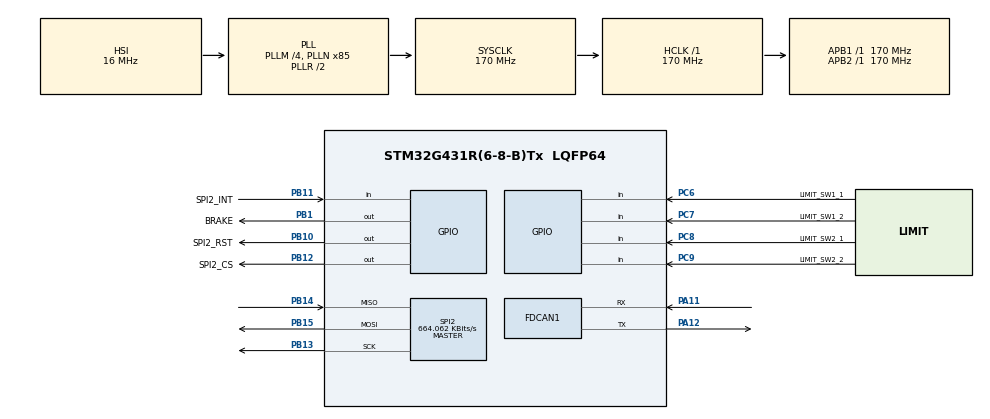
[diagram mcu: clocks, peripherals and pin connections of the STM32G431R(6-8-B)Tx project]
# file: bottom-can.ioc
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FDCAN1.AutoRetransmission=ENABLE
FDCAN1.CalculateBaudRateNominal=999999
FDCAN1.CalculateTimeBitNominal=1000
FDCAN1.CalculateTimeQuantumNominal=58.82352941176471
FDCAN1.NominalPrescaler=10
FDCAN1.NominalSyncJumpWidth=3
FDCAN1.NominalTimeSeg1=13
FDCAN1.NominalTimeSeg2=3
FDCAN1.StdFiltersNbr=1
Mcu.Family=STM32G4
Mcu.Name=STM32G431R(6-8-B)Tx
Mcu.Package=LQFP64
NUCLEO-G431RB.BUTTON=1
NUCLEO-G431RB.LD1=true
NUCLEO-G431RB.VCP=true
NVIC.EXTI15_10_IRQn=true\:0\:0\:false\:false\:true\:false\:true\:true
NVIC.PriorityGroup=NVIC_PRIORITYGROUP_4
PA11.Mode=FDCAN_Activate
PA11.Signal=FDCAN1_RX
PA12.Mode=FDCAN_Activate
PA12.Signal=FDCAN1_TX
PA13.GPIO_Label=T_SWDIO
PA13.Mode=Serial_Wire
PA13.Signal=SYS_JTMS-SWDIO
PA14.GPIO_Label=T_SWCLK
PA14.Mode=Serial_Wire
PA14.Signal=SYS_JTCK-SWCLK
PB1.GPIO_Label=BRAKE
PB1.GPIO_PuPd=GPIO_PULLDOWN
PB1.Signal=GPIO_Output
PB10.GPIO_Label=SPI2_RST
PB10.GPIO_PuPd=GPIO_PULLUP
PB10.PinState=GPIO_PIN_SET
PB10.Signal=GPIO_Output
PB11.GPIO_Label=SPI2_INT
PB11.GPIO_PuPd=GPIO_PULLUP
PB11.Signal=GPIO_Input
PB12.GPIO_Label=SPI2_CS
PB12.GPIO_PuPd=GPIO_PULLUP
PB12.PinState=GPIO_PIN_SET
PB12.Signal=GPIO_Output
PB13.GPIO_Speed=GPIO_SPEED_FREQ_VERY_HIGH
PB13.Mode=Full_Duplex_Master
PB13.Signal=SPI2_SCK
PB14.GPIO_Speed=GPIO_SPEED_FREQ_VERY_HIGH
PB14.Mode=Full_Duplex_Master
PB14.Signal=SPI2_MISO
PB15.GPIO_Speed=GPIO_SPEED_FREQ_VERY_HIGH
PB15.Mode=Full_Duplex_Master
PB15.Signal=SPI2_MOSI
PB3.GPIO_Label=T_SWO
PB3.Signal=SYS_JTDO-SWO
PC14-OSC32_IN.GPIO_Label=RCC_OSC32_OUT
PC14-OSC32_IN.Signal=RCC_OSC32_IN
PC15-OSC32_OUT.GPIO_Label=RCC_OSC32_OUT
PC15-OSC32_OUT.Signal=RCC_OSC32_OUT
PC6.GPIO_Label=LIMIT_SW1_1
PC6.GPIO_PuPd=GPIO_PULLUP
PC6.Signal=GPIO_Input
PC7.GPIO_Label=LIMIT_SW1_2
PC7.GPIO_PuPd=GPIO_PULLUP
PC7.Signal=GPIO_Input
PC8.GPIO_Label=LIMIT_SW2_1
PC8.GPIO_PuPd=GPIO_PULLUP
PC8.Signal=GPIO_Input
PC9.GPIO_Label=LIMIT_SW2_2
PC9.GPIO_PuPd=GPIO_PULLUP
PC9.Signal=GPIO_Input
PF0-OSC_IN.GPIO_Label=RCC_OSC_IN
PF0-OSC_IN.Signal=RCC_OSC_IN
PF1-OSC_OUT.GPIO_Label=RCC_OSC_OUT
PF1-OSC_OUT.Signal=RCC_OSC_OUT
ProjectManager.HeapSize=0x800
ProjectManager.StackSize=0x1000
ProjectManager.TargetToolchain=STM32CubeIDE
RCC.ADC12Freq_Value=170000000
RCC.AHBFreq_Value=170000000
RCC.APB1Freq_Value=170000000
RCC.APB1TimFreq_Value=170000000
RCC.APB2Freq_Value=170000000
RCC.APB2TimFreq_Value=170000000
RCC.CortexFreq_Value=170000000
RCC.EXTERNAL_CLOCK_VALUE=12288000
RCC.HCLKFreq_Value=170000000
RCC.HSE_VALUE=24000000
RCC.HSI48_VALUE=48000000
RCC.HSI_VALUE=16000000
RCC.LSE_VALUE=32768
RCC.PLLM=RCC_PLLM_DIV4
RCC.PLLN=85
RCC.RTCClockSelection=RCC_RTCCLKSOURCE_LSE
RCC.SYSCLKFreq_VALUE=170000000
RCC.SYSCLKSource=RCC_SYSCLKSOURCE_PLLCLK
RCC.USBFreq_Value=170000000
RCC.VCOOutputFreq_Value=340000000
SPI2.BaudRatePrescaler=SPI_BAUDRATEPRESCALER_256
SPI2.CLKPhase=SPI_PHASE_2EDGE
SPI2.CLKPolarity=SPI_POLARITY_HIGH
SPI2.CalculateBaudRate=664.062 KBits/s
SPI2.DataSize=SPI_DATASIZE_8BIT
SPI2.Direction=SPI_DIRECTION_2LINES
SPI2.Mode=SPI_MODE_MASTER
SPI2.VirtualType=VM_MASTER
VP_NUCLEO-G431RB_VS_BSP_COMMON.Mode=COMMON
VP_SYS_VS_DBSignals.Mode=DisableDeadBatterySignals
board=NUCLEO-G431RB

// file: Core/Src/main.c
/* USER CODE BEGIN Header */
/**
  ******************************************************************************
  * @file           : main.c
  * @brief          : Main program body
  ******************************************************************************
  * @attention
  *
  * Copyright (c) 2026 STMicroelectronics.
  * All rights reserved.
  *
  * This software is licensed under terms that can be found in the LICENSE file
  * in the root directory of this software component.
  * If no LICENSE file comes with this software, it is provided AS-IS.
  *
  ******************************************************************************
  */
/* USER CODE END Header */
#include "main.h"

/* USER CODE BEGIN Includes */
#include "ceva_bno085.h"

/* USER CODE END Includes */

/* USER CODE BEGIN PD */
#define BOTTOM_CAN_TX_PERIOD_MS 10U
#define BOTTOM_CAN_ID_RPY      0x210U
#define BOTTOM_CAN_ID_ACCEL    0x211U
#define BOTTOM_CAN_ID_COMMAND  0x212U
#define BOTTOM_CAN_ID_STATUS   0x213U
#define BOTTOM_CAN_CMD_RELAY   0x01U
#define BOTTOM_RELAY_ON_LEVEL  GPIO_PIN_RESET
#define BOTTOM_RELAY_OFF_LEVEL GPIO_PIN_SET

/* USER CODE END PD */

COM_InitTypeDef BspCOMInit;
FDCAN_HandleTypeDef hfdcan1;

SPI_HandleTypeDef hspi2;

/* USER CODE BEGIN PV */
static uint32_t bottom_can_last_tx_ms;
static uint8_t bottom_can_tx_seq;
static uint8_t bottom_can_relay_state;

/* USER CODE END PV */

void SystemClock_Config(void);
static void MX_GPIO_Init(void);
static void MX_FDCAN1_Init(void);
static void MX_SPI2_Init(void);
/* USER CODE BEGIN PFP */
static void Bottom_CAN_Init(void);
static void Bottom_CAN_Service(void);
static void Bottom_CAN_ProcessRx(void);

/* USER CODE END PFP */

int main(void)
{

  /* MCU Configuration--------------------------------------------------------*/

  /* Reset of all peripherals, Initializes the Flash interface and the Systick. */
  HAL_Init();

  /* Configure the system clock */
  SystemClock_Config();

  /* Initialize all configured peripherals */
  MX_GPIO_Init();
  MX_FDCAN1_Init();
  MX_SPI2_Init();
  /* USER CODE BEGIN 2 */
  Bottom_CAN_Init();
  CEVA_BNO085_Init();

  /* USER CODE END 2 */

  /* Initialize leds */
  BSP_LED_Init(LED_GREEN);

  /* Initialize USER push-button, will be used to trigger an interrupt each time it's pressed.*/
  BSP_PB_Init(BUTTON_USER, BUTTON_MODE_EXTI);

  /* Initialize COM1 port (115200, 8 bits (7-bit data + 1 stop bit), no parity */
  BspCOMInit.BaudRate   = 115200;
  BspCOMInit.WordLength = COM_WORDLENGTH_8B;
  BspCOMInit.StopBits   = COM_STOPBITS_1;
  BspCOMInit.Parity     = COM_PARITY_NONE;
  BspCOMInit.HwFlowCtl  = COM_HWCONTROL_NONE;
  if (BSP_COM_Init(COM1, &BspCOMInit) != BSP_ERROR_NONE)
  {
    Error_Handler();
  }

  /* Infinite loop */
  while (1)
  {

    /* USER CODE BEGIN 3 */
    Bottom_CAN_Service();
    CEVA_BNO085_Service();
  }
  /* USER CODE END 3 */
}

void SystemClock_Config(void)
{
  RCC_OscInitTypeDef RCC_OscInitStruct = {0};
  RCC_ClkInitTypeDef RCC_ClkInitStruct = {0};

  /** Configure the main internal regulator output voltage
  */
  HAL_PWREx_ControlVoltageScaling(PWR_REGULATOR_VOLTAGE_SCALE1_BOOST);

  /** Initializes the RCC Oscillators according to the specified parameters
  * in the RCC_OscInitTypeDef structure.
  */
  RCC_OscInitStruct.OscillatorType = RCC_OSCILLATORTYPE_HSI;
  RCC_OscInitStruct.HSIState = RCC_HSI_ON;
  RCC_OscInitStruct.HSICalibrationValue = RCC_HSICALIBRATION_DEFAULT;
  RCC_OscInitStruct.PLL.PLLState = RCC_PLL_ON;
  RCC_OscInitStruct.PLL.PLLSource = RCC_PLLSOURCE_HSI;
  RCC_OscInitStruct.PLL.PLLM = RCC_PLLM_DIV4;
  RCC_OscInitStruct.PLL.PLLN = 85;
  RCC_OscInitStruct.PLL.PLLP = RCC_PLLP_DIV2;
  RCC_OscInitStruct.PLL.PLLQ = RCC_PLLQ_DIV2;
  RCC_OscInitStruct.PLL.PLLR = RCC_PLLR_DIV2;
  if (HAL_RCC_OscConfig(&RCC_OscInitStruct) != HAL_OK)
  {
    Error_Handler();
  }

  /** Initializes the CPU, AHB and APB buses clocks
  */
  RCC_ClkInitStruct.ClockType = RCC_CLOCKTYPE_HCLK|RCC_CLOCKTYPE_SYSCLK
                              |RCC_CLOCKTYPE_PCLK1|RCC_CLOCKTYPE_PCLK2;
  RCC_ClkInitStruct.SYSCLKSource = RCC_SYSCLKSOURCE_PLLCLK;
  RCC_ClkInitStruct.AHBCLKDivider = RCC_SYSCLK_DIV1;
  RCC_ClkInitStruct.APB1CLKDivider = RCC_HCLK_DIV1;
  RCC_ClkInitStruct.APB2CLKDivider = RCC_HCLK_DIV1;

  if (HAL_RCC_ClockConfig(&RCC_ClkInitStruct, FLASH_LATENCY_4) != HAL_OK)
  {
    Error_Handler();
  }
}

static void MX_FDCAN1_Init(void)
{

  hfdcan1.Instance = FDCAN1;
  hfdcan1.Init.ClockDivider = FDCAN_CLOCK_DIV1;
  hfdcan1.Init.FrameFormat = FDCAN_FRAME_CLASSIC;
  hfdcan1.Init.Mode = FDCAN_MODE_NORMAL;
  hfdcan1.Init.AutoRetransmission = ENABLE;
  hfdcan1.Init.TransmitPause = DISABLE;
  hfdcan1.Init.ProtocolException = DISABLE;
  hfdcan1.Init.NominalPrescaler = 10;
  hfdcan1.Init.NominalSyncJumpWidth = 3;
  hfdcan1.Init.NominalTimeSeg1 = 13;
  hfdcan1.Init.NominalTimeSeg2 = 3;
  hfdcan1.Init.DataPrescaler = 1;
  hfdcan1.Init.DataSyncJumpWidth = 1;
  hfdcan1.Init.DataTimeSeg1 = 1;
  hfdcan1.Init.DataTimeSeg2 = 1;
  hfdcan1.Init.StdFiltersNbr = 1;
  hfdcan1.Init.ExtFiltersNbr = 0;
  hfdcan1.Init.TxFifoQueueMode = FDCAN_TX_FIFO_OPERATION;
  if (HAL_FDCAN_Init(&hfdcan1) != HAL_OK)
  {
    Error_Handler();
  }

}

static void MX_SPI2_Init(void)
{

  /* SPI2 parameter configuration*/
  hspi2.Instance = SPI2;
  hspi2.Init.Mode = SPI_MODE_MASTER;
  hspi2.Init.Direction = SPI_DIRECTION_2LINES;
  hspi2.Init.DataSize = SPI_DATASIZE_8BIT;
  hspi2.Init.CLKPolarity = SPI_POLARITY_HIGH;
  hspi2.Init.CLKPhase = SPI_PHASE_2EDGE;
  hspi2.Init.NSS = SPI_NSS_SOFT;
  hspi2.Init.BaudRatePrescaler = SPI_BAUDRATEPRESCALER_256;
  hspi2.Init.FirstBit = SPI_FIRSTBIT_MSB;
  hspi2.Init.TIMode = SPI_TIMODE_DISABLE;
  hspi2.Init.CRCCalculation = SPI_CRCCALCULATION_DISABLE;
  hspi2.Init.CRCPolynomial = 7;
  hspi2.Init.CRCLength = SPI_CRC_LENGTH_DATASIZE;
  hspi2.Init.NSSPMode = SPI_NSS_PULSE_DISABLE;
  if (HAL_SPI_Init(&hspi2) != HAL_OK)
  {
    Error_Handler();
  }

}

static void MX_GPIO_Init(void)
{
  GPIO_InitTypeDef GPIO_InitStruct = {0};

  /* GPIO Ports Clock Enable */
  __HAL_RCC_GPIOC_CLK_ENABLE();
  __HAL_RCC_GPIOF_CLK_ENABLE();
  __HAL_RCC_GPIOB_CLK_ENABLE();
  __HAL_RCC_GPIOA_CLK_ENABLE();

  /*Configure GPIO pin Output Level */
  HAL_GPIO_WritePin(BRAKE_GPIO_Port, BRAKE_Pin, GPIO_PIN_RESET);

  /*Configure GPIO pin Output Level */
  HAL_GPIO_WritePin(GPIOB, SPI2_RST_Pin|SPI2_CS_Pin, GPIO_PIN_SET);

  /*Configure GPIO pin : BRAKE_Pin */
  GPIO_InitStruct.Pin = BRAKE_Pin;
  GPIO_InitStruct.Mode = GPIO_MODE_OUTPUT_PP;
  GPIO_InitStruct.Pull = GPIO_PULLDOWN;
  GPIO_InitStruct.Speed = GPIO_SPEED_FREQ_LOW;
  HAL_GPIO_Init(BRAKE_GPIO_Port, &GPIO_InitStruct);

  /*Configure GPIO pins : SPI2_RST_Pin SPI2_CS_Pin */
  GPIO_InitStruct.Pin = SPI2_RST_Pin|SPI2_CS_Pin;
  GPIO_InitStruct.Mode = GPIO_MODE_OUTPUT_PP;
  GPIO_InitStruct.Pull = GPIO_PULLUP;
  GPIO_InitStruct.Speed = GPIO_SPEED_FREQ_LOW;
  HAL_GPIO_Init(GPIOB, &GPIO_InitStruct);

  /*Configure GPIO pin : SPI2_INT_Pin */
  GPIO_InitStruct.Pin = SPI2_INT_Pin;
  GPIO_InitStruct.Mode = GPIO_MODE_INPUT;
  GPIO_InitStruct.Pull = GPIO_PULLUP;
  HAL_GPIO_Init(SPI2_INT_GPIO_Port, &GPIO_InitStruct);

  /*Configure GPIO pins : LIMIT_SW1_1_Pin LIMIT_SW1_2_Pin LIMIT_SW2_1_Pin LIMIT_SW2_2_Pin */
  GPIO_InitStruct.Pin = LIMIT_SW1_1_Pin|LIMIT_SW1_2_Pin|LIMIT_SW2_1_Pin|LIMIT_SW2_2_Pin;
  GPIO_InitStruct.Mode = GPIO_MODE_INPUT;
  GPIO_InitStruct.Pull = GPIO_PULLUP;
  HAL_GPIO_Init(GPIOC, &GPIO_InitStruct);

}

/* USER CODE BEGIN 4 */
static int16_t clamp_i16(int32_t value)
{
  if (value > 32767) {
    return 32767;
  }
  if (value < -32768) {
    return -32768;
  }

  return (int16_t)value;
}

static int16_t scale_i16(float value, float scale)
{
  float scaled = value * scale;

  if (scaled >= 0.0f) {
    scaled += 0.5f;
  } else {
    scaled -= 0.5f;
  }

  return clamp_i16((int32_t)scaled);
}

static void put_i16_be(uint8_t *buffer, uint32_t offset, int16_t value)
{
  uint16_t raw = (uint16_t)value;

  buffer[offset] = (uint8_t)(raw >> 8);
  buffer[offset + 1U] = (uint8_t)(raw & 0xFFU);
}

static uint8_t read_limit_bits(void)
{
  uint8_t bits = 0U;

  bits |= (HAL_GPIO_ReadPin(LIMIT_SW1_1_GPIO_Port, LIMIT_SW1_1_Pin) == GPIO_PIN_RESET) ? 0x01U : 0U;
  bits |= (HAL_GPIO_ReadPin(LIMIT_SW1_2_GPIO_Port, LIMIT_SW1_2_Pin) == GPIO_PIN_RESET) ? 0x02U : 0U;
  bits |= (HAL_GPIO_ReadPin(LIMIT_SW2_1_GPIO_Port, LIMIT_SW2_1_Pin) == GPIO_PIN_RESET) ? 0x04U : 0U;
  bits |= (HAL_GPIO_ReadPin(LIMIT_SW2_2_GPIO_Port, LIMIT_SW2_2_Pin) == GPIO_PIN_RESET) ? 0x08U : 0U;

  return bits;
}

static void set_relay_state(uint8_t state)
{
  bottom_can_relay_state = (state != 0U) ? 1U : 0U;
  HAL_GPIO_WritePin(BRAKE_GPIO_Port, BRAKE_Pin,
                    (bottom_can_relay_state != 0U) ? BOTTOM_RELAY_ON_LEVEL : BOTTOM_RELAY_OFF_LEVEL);
}

static HAL_StatusTypeDef bottom_can_send(uint32_t std_id, const uint8_t data[8])
{
  FDCAN_TxHeaderTypeDef tx_header = {0};

  if (HAL_FDCAN_GetTxFifoFreeLevel(&hfdcan1) == 0U) {
    return HAL_BUSY;
  }

  tx_header.Identifier = std_id;
  tx_header.IdType = FDCAN_STANDARD_ID;
  tx_header.TxFrameType = FDCAN_DATA_FRAME;
  tx_header.DataLength = FDCAN_DLC_BYTES_8;
  tx_header.ErrorStateIndicator = FDCAN_ESI_ACTIVE;
  tx_header.BitRateSwitch = FDCAN_BRS_OFF;
  tx_header.FDFormat = FDCAN_CLASSIC_CAN;
  tx_header.TxEventFifoControl = FDCAN_NO_TX_EVENTS;
  tx_header.MessageMarker = 0U;

  return HAL_FDCAN_AddMessageToTxFifoQ(&hfdcan1, &tx_header, (uint8_t *)data);
}

static void Bottom_CAN_Init(void)
{
  FDCAN_FilterTypeDef rx_filter = {0};

  rx_filter.IdType = FDCAN_STANDARD_ID;
  rx_filter.FilterIndex = 0U;
  rx_filter.FilterType = FDCAN_FILTER_MASK;
  rx_filter.FilterConfig = FDCAN_FILTER_TO_RXFIFO0;
  rx_filter.FilterID1 = BOTTOM_CAN_ID_COMMAND;
  rx_filter.FilterID2 = 0x7FFU;

  if (HAL_FDCAN_ConfigFilter(&hfdcan1, &rx_filter) != HAL_OK) {
    Error_Handler();
  }

  if (HAL_FDCAN_ConfigGlobalFilter(&hfdcan1, FDCAN_REJECT, FDCAN_REJECT,
                                   FDCAN_REJECT_REMOTE, FDCAN_REJECT_REMOTE) != HAL_OK) {
    Error_Handler();
  }

  set_relay_state(0U);

  if (HAL_FDCAN_Start(&hfdcan1) != HAL_OK) {
    Error_Handler();
  }

  bottom_can_last_tx_ms = HAL_GetTick();
}

static void Bottom_CAN_HandleCommand(const FDCAN_RxHeaderTypeDef *rx_header, const uint8_t data[8])
{
  if ((rx_header->IdType != FDCAN_STANDARD_ID) ||
      (rx_header->Identifier != BOTTOM_CAN_ID_COMMAND) ||
      (rx_header->RxFrameType != FDCAN_DATA_FRAME) ||
      (rx_header->DataLength != FDCAN_DLC_BYTES_8)) {
    return;
  }

  if (data[0] == BOTTOM_CAN_CMD_RELAY) {
    set_relay_state(data[1]);
  }
}

static void Bottom_CAN_ProcessRx(void)
{
  FDCAN_RxHeaderTypeDef rx_header;
  uint8_t rx_data[8];

  while (HAL_FDCAN_GetRxFifoFillLevel(&hfdcan1, FDCAN_RX_FIFO0) > 0U) {
    if (HAL_FDCAN_GetRxMessage(&hfdcan1, FDCAN_RX_FIFO0, &rx_header, rx_data) != HAL_OK) {
      return;
    }

    Bottom_CAN_HandleCommand(&rx_header, rx_data);
  }
}

static void Bottom_CAN_Service(void)
{
  uint32_t now_ms = HAL_GetTick();
  uint8_t limits;
  uint8_t rpy_data[8] = {0};
  uint8_t accel_data[8] = {0};
  uint8_t status_data[8] = {0};

  Bottom_CAN_ProcessRx();

  if ((now_ms - bottom_can_last_tx_ms) < BOTTOM_CAN_TX_PERIOD_MS) {
    return;
  }
  bottom_can_last_tx_ms = now_ms;

  limits = read_limit_bits();

  if (bno085_dbg.rpy_count > 0U) {
    put_i16_be(rpy_data, 0U, scale_i16(bno085_dbg.roll_deg, 100.0f));
    put_i16_be(rpy_data, 2U, scale_i16(bno085_dbg.pitch_deg, 100.0f));
    put_i16_be(rpy_data, 4U, scale_i16(bno085_dbg.yaw_deg, 100.0f));
    rpy_data[6] = limits;
    rpy_data[7] = bottom_can_tx_seq;
    (void)bottom_can_send(BOTTOM_CAN_ID_RPY, rpy_data);
  }

  if (bno085_dbg.accel_count > 0U) {
    put_i16_be(accel_data, 0U, scale_i16(bno085_dbg.accel_x, 1000.0f));
    put_i16_be(accel_data, 2U, scale_i16(bno085_dbg.accel_y, 1000.0f));
    put_i16_be(accel_data, 4U, scale_i16(bno085_dbg.accel_z, 1000.0f));
    accel_data[6] = limits;
    accel_data[7] = bno085_dbg.report_id;
    (void)bottom_can_send(BOTTOM_CAN_ID_ACCEL, accel_data);
  }

  status_data[0] = limits;
  status_data[1] = bottom_can_relay_state;
  status_data[2] = bno085_dbg.rx_ready;
  status_data[7] = bottom_can_tx_seq;
  (void)bottom_can_send(BOTTOM_CAN_ID_STATUS, status_data);

  bottom_can_tx_seq++;
}

void HAL_GPIO_EXTI_Callback(uint16_t GPIO_Pin)
{
  CEVA_BNO085_EXTI_Callback(GPIO_Pin);
}

void HAL_SPI_TxRxCpltCallback(SPI_HandleTypeDef *hspi)
{
  CEVA_BNO085_SPI_TxRxCpltCallback(hspi);
}

void HAL_SPI_ErrorCallback(SPI_HandleTypeDef *hspi)
{
  CEVA_BNO085_SPI_ErrorCallback(hspi);
}

/* USER CODE END 4 */

void Error_Handler(void)
{
  __disable_irq();
  while (1)
  {
  }
}
